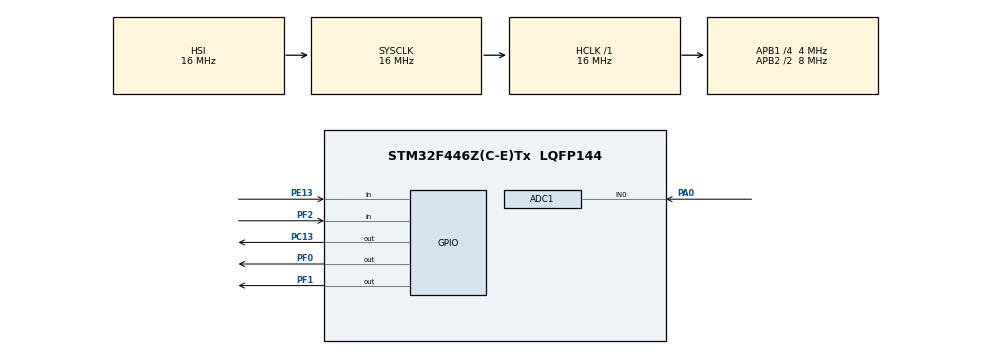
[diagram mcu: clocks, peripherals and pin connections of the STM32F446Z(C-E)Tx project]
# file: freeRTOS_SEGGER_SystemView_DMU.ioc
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ADC1.Channel-0\#ChannelRegularConversion=ADC_CHANNEL_0
ADC1.NbrOfConversionFlag=1
ADC1.Rank-0\#ChannelRegularConversion=1
ADC1.SamplingTime-0\#ChannelRegularConversion=ADC_SAMPLETIME_3CYCLES
ADC1.ScanConvMode=ENABLE
ADC1.master=1
FREERTOS.Tasks01=defaultTask,24,128,StartDefaultTask,Default,NULL,Dynamic,NULL,NULL;myTask02,16,128,StartTask02,Default,NULL,Dynamic,NULL,NULL;myTask03,16,128,StartTask03,Default,NULL,Dynamic,NULL,NULL
FREERTOS.configUSE_NEWLIB_REENTRANT=1
Mcu.Family=STM32F4
Mcu.Name=STM32F446Z(C-E)Tx
Mcu.Package=LQFP144
NVIC.PriorityGroup=NVIC_PRIORITYGROUP_4
NVIC.RCC_IRQn=true\:5\:0\:false\:false\:true\:true\:true\:false\:true
NVIC.TIM6_DAC_IRQn=true\:15\:0\:false\:false\:true\:false\:false\:true\:true
NVIC.TimeBase=TIM6_DAC_IRQn
NVIC.TimeBaseIP=TIM6
PA0-WKUP.Signal=ADCx_IN0
PC13.Signal=GPIO_Output
PE13.Signal=GPIO_Input
PF0.Signal=GPIO_Output
PF1.Signal=GPIO_Output
PF2.Signal=GPIO_Input
PH0-OSC_IN.Mode=HSE-External-Oscillator
PH0-OSC_IN.Signal=RCC_OSC_IN
PH1-OSC_OUT.Mode=HSE-External-Oscillator
PH1-OSC_OUT.Signal=RCC_OSC_OUT
ProjectManager.HeapSize=0x200
ProjectManager.StackSize=0x400
ProjectManager.TargetToolchain=STM32CubeIDE
RCC.AHBFreq_Value=16000000
RCC.APB1CLKDivider=RCC_HCLK_DIV4
RCC.APB1Freq_Value=4000000
RCC.APB1TimFreq_Value=8000000
RCC.APB2CLKDivider=RCC_HCLK_DIV2
RCC.APB2Freq_Value=8000000
RCC.APB2TimFreq_Value=16000000
RCC.CortexFreq_Value=16000000
RCC.HCLKFreq_Value=16000000
RCC.HSE_VALUE=25000000
RCC.PLLM=4
RCC.PLLN=168
RCC.SYSCLKFreq_VALUE=16000000
RCC.USBFreq_Value=336000000
RCC.VCOOutputFreq_Value=672000000
SH.ADCx_IN0.0=ADC1_IN0,IN0
VP_FREERTOS_VS_CMSIS_V2.Mode=CMSIS_V2
VP_SYS_VS_tim6.Mode=TIM6
board=custom

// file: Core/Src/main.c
/* USER CODE BEGIN Header */
/**
  ******************************************************************************
  * @file           : main.c
  * @brief          : Main program body
  ******************************************************************************
  * @attention
  *
  * Copyright (c) 2024 STMicroelectronics.
  * All rights reserved.
  *
  * This software is licensed under terms that can be found in the LICENSE file
  * in the root directory of this software component.
  * If no LICENSE file comes with this software, it is provided AS-IS.
  *
  ******************************************************************************
  */
/* USER CODE END Header */
#include "main.h"
#include "cmsis_os.h"

/* USER CODE BEGIN Includes */

#include "FreeRTOS.h"
#include <stdio.h>
#include <stdbool.h>
#include "task.h"
#include "SEGGER_RTT.h"
#include "SEGGER_SYSVIEW_Conf.h"
#include "SEGGER_SYSVIEW.h"

bool acces_key = 1;
uint8_t TxData;
unsigned digital_output;

//TaskHandle_t myTask02_handle = NULL;
//TaskHandle_t defaultTask1Handle = NULL;
//TaskHandle_t myTask03_handle = NULL;

/* USER CODE END Includes */

ADC_HandleTypeDef hadc1;

/* Definitions for defaultTask */
osThreadId_t defaultTaskHandle;
const osThreadAttr_t defaultTask_attributes = {
  .name = "defaultTask",
  .stack_size = 128 * 4,
  .priority = (osPriority_t) osPriorityNormal,
};
/* Definitions for myTask02 */
osThreadId_t myTask02Handle;
const osThreadAttr_t myTask02_attributes = {
  .name = "myTask02",
  .stack_size = 128 * 4,
  .priority = (osPriority_t) osPriorityBelowNormal,
};
/* Definitions for myTask03 */
osThreadId_t myTask03Handle;
const osThreadAttr_t myTask03_attributes = {
  .name = "myTask03",
  .stack_size = 128 * 4,
  .priority = (osPriority_t) osPriorityBelowNormal,
};

void SystemClock_Config(void);
static void MX_GPIO_Init(void);
static void MX_ADC1_Init(void);
void StartDefaultTask(void *argument);
void StartTask02(void *argument);
void StartTask03(void *argument);

int main(void)
{

  /* USER CODE BEGIN 1 */
	SEGGER_SYSVIEW_Conf();
	SEGGER_SYSVIEW_Start();
  /* USER CODE END 1 */

  /* MCU Configuration--------------------------------------------------------*/

  /* Reset of all peripherals, Initializes the Flash interface and the Systick. */
  HAL_Init();

  /* USER CODE BEGIN Init */
//  osKernelInitialize();

  /* USER CODE END Init */

  /* Configure the system clock */
  SystemClock_Config();
  SystemCoreClockUpdate();

  /* Initialize all configured peripherals */
  MX_GPIO_Init();
  MX_ADC1_Init();

  /* Init scheduler */
  osKernelInitialize();

  /* Create the thread(s) */
  /* creation of defaultTask */
//  defaultTaskHandle = osThreadNew(StartDefaultTask, NULL, &defaultTask_attributes);
  xTaskCreate(StartDefaultTask,"myTask01",configMINIMAL_STACK_SIZE, NULL, 4, &defaultTask_attributes);
  /* creation of myTask02 */
//  myTask02Handle = osThreadNew(StartTask02, NULL, &myTask02_attributes);
  xTaskCreate(StartTask02, "myTask02", configMINIMAL_STACK_SIZE, NULL, 4, &myTask02_attributes);
  /* creation of myTask03 */
//  myTask03Handle = osThreadNew(StartTask03, NULL, &myTask03_attributes);
  xTaskCreate(StartTask03, "myTask03", configMINIMAL_STACK_SIZE, NULL, 4, &myTask03_attributes);

  /* Start scheduler */
  osKernelStart();
  vTaskStartScheduler();
  /* We should never get here as control is now taken by the scheduler */

  /* Infinite loop */
  while (1)
  {

  }
}

void SystemClock_Config(void)
{
  RCC_OscInitTypeDef RCC_OscInitStruct = {0};
  RCC_ClkInitTypeDef RCC_ClkInitStruct = {0};

  /** Configure the main internal regulator output voltage
  */
  __HAL_RCC_PWR_CLK_ENABLE();
  __HAL_PWR_VOLTAGESCALING_CONFIG(PWR_REGULATOR_VOLTAGE_SCALE3);

  /** Initializes the RCC Oscillators according to the specified parameters
  * in the RCC_OscInitTypeDef structure.
  */
  RCC_OscInitStruct.OscillatorType = RCC_OSCILLATORTYPE_HSI;
  RCC_OscInitStruct.HSIState = RCC_HSI_ON;
  RCC_OscInitStruct.HSICalibrationValue = RCC_HSICALIBRATION_DEFAULT;
  RCC_OscInitStruct.PLL.PLLState = RCC_PLL_NONE;
  if (HAL_RCC_OscConfig(&RCC_OscInitStruct) != HAL_OK)
  {
    Error_Handler();
  }

  /** Initializes the CPU, AHB and APB buses clocks
  */
  RCC_ClkInitStruct.ClockType = RCC_CLOCKTYPE_HCLK|RCC_CLOCKTYPE_SYSCLK
                              |RCC_CLOCKTYPE_PCLK1|RCC_CLOCKTYPE_PCLK2;
  RCC_ClkInitStruct.SYSCLKSource = RCC_SYSCLKSOURCE_HSI;
  RCC_ClkInitStruct.AHBCLKDivider = RCC_SYSCLK_DIV1;
  RCC_ClkInitStruct.APB1CLKDivider = RCC_HCLK_DIV4;
  RCC_ClkInitStruct.APB2CLKDivider = RCC_HCLK_DIV2;

  if (HAL_RCC_ClockConfig(&RCC_ClkInitStruct, FLASH_LATENCY_0) != HAL_OK)
  {
    Error_Handler();
  }
}

static void MX_ADC1_Init(void)
{

  ADC_ChannelConfTypeDef sConfig = {0};

  /** Configure the global features of the ADC (Clock, Resolution, Data Alignment and number of conversion)
  */
  hadc1.Instance = ADC1;
  hadc1.Init.ClockPrescaler = ADC_CLOCK_SYNC_PCLK_DIV2;
  hadc1.Init.Resolution = ADC_RESOLUTION_12B;
  hadc1.Init.ScanConvMode = ENABLE;
  hadc1.Init.ContinuousConvMode = DISABLE;
  hadc1.Init.DiscontinuousConvMode = DISABLE;
  hadc1.Init.ExternalTrigConvEdge = ADC_EXTERNALTRIGCONVEDGE_NONE;
  hadc1.Init.ExternalTrigConv = ADC_SOFTWARE_START;
  hadc1.Init.DataAlign = ADC_DATAALIGN_RIGHT;
  hadc1.Init.NbrOfConversion = 1;
  hadc1.Init.DMAContinuousRequests = DISABLE;
  hadc1.Init.EOCSelection = ADC_EOC_SINGLE_CONV;
  if (HAL_ADC_Init(&hadc1) != HAL_OK)
  {
    Error_Handler();
  }

  /** Configure for the selected ADC regular channel its corresponding rank in the sequencer and its sample time.
  */
  sConfig.Channel = ADC_CHANNEL_0;
  sConfig.Rank = 1;
  sConfig.SamplingTime = ADC_SAMPLETIME_3CYCLES;
  if (HAL_ADC_ConfigChannel(&hadc1, &sConfig) != HAL_OK)
  {
    Error_Handler();
  }

}

static void MX_GPIO_Init(void)
{
  GPIO_InitTypeDef GPIO_InitStruct = {0};

  /* GPIO Ports Clock Enable */
  __HAL_RCC_GPIOC_CLK_ENABLE();
  __HAL_RCC_GPIOF_CLK_ENABLE();
  __HAL_RCC_GPIOH_CLK_ENABLE();
  __HAL_RCC_GPIOA_CLK_ENABLE();
  __HAL_RCC_GPIOE_CLK_ENABLE();

  /*Configure GPIO pin Output Level */
  HAL_GPIO_WritePin(GPIOC, GPIO_PIN_13, GPIO_PIN_RESET);

  /*Configure GPIO pin Output Level */
  HAL_GPIO_WritePin(GPIOF, GPIO_PIN_0|GPIO_PIN_1, GPIO_PIN_RESET);

  /*Configure GPIO pin : PC13 */
  GPIO_InitStruct.Pin = GPIO_PIN_13;
  GPIO_InitStruct.Mode = GPIO_MODE_OUTPUT_PP;
  GPIO_InitStruct.Pull = GPIO_NOPULL;
  GPIO_InitStruct.Speed = GPIO_SPEED_FREQ_LOW;
  HAL_GPIO_Init(GPIOC, &GPIO_InitStruct);

  /*Configure GPIO pins : PF0 PF1 */
  GPIO_InitStruct.Pin = GPIO_PIN_0|GPIO_PIN_1;
  GPIO_InitStruct.Mode = GPIO_MODE_OUTPUT_PP;
  GPIO_InitStruct.Pull = GPIO_NOPULL;
  GPIO_InitStruct.Speed = GPIO_SPEED_FREQ_LOW;
  HAL_GPIO_Init(GPIOF, &GPIO_InitStruct);

  /*Configure GPIO pin : PF2 */
  GPIO_InitStruct.Pin = GPIO_PIN_2;
  GPIO_InitStruct.Mode = GPIO_MODE_INPUT;
  GPIO_InitStruct.Pull = GPIO_NOPULL;
  HAL_GPIO_Init(GPIOF, &GPIO_InitStruct);

  /*Configure GPIO pin : PE13 */
  GPIO_InitStruct.Pin = GPIO_PIN_13;
  GPIO_InitStruct.Mode = GPIO_MODE_INPUT;
  GPIO_InitStruct.Pull = GPIO_NOPULL;
  HAL_GPIO_Init(GPIOE, &GPIO_InitStruct);

}

void StartDefaultTask(void *argument)
{
  /* USER CODE BEGIN 5 */

  /* Infinite loop */
  for(;;)
  {
	  if(acces_key == 1)
	  {
		  acces_key =0;
		  HAL_GPIO_WritePin(GPIOF, GPIO_PIN_0, GPIO_PIN_SET);
		  HAL_Delay(500);
		  HAL_GPIO_WritePin(GPIOF, GPIO_PIN_0, GPIO_PIN_RESET);
		  acces_key =1;
		  taskYIELD();
	  }
	    osDelay(1000);
  }
  /* USER CODE END 5 */
}

void StartTask02(void *argument)
{
  /* USER CODE BEGIN StartTask02 */
  /* Infinite loop */
  for(;;)
  {
	  if(digital_output == 0)
	  {
		  HAL_GPIO_WritePin(GPIOC, GPIO_PIN_13, GPIO_PIN_SET);
	  	  HAL_Delay(500);
	  	  HAL_GPIO_WritePin(GPIOC, GPIO_PIN_13, GPIO_PIN_RESET);

	  	  HAL_GPIO_WritePin(GPIOF, GPIO_PIN_1, GPIO_PIN_SET);
	  	  HAL_Delay(500);
	  	  HAL_GPIO_WritePin(GPIOF, GPIO_PIN_1, GPIO_PIN_RESET);

	  	  HAL_ADC_Start(&hadc1);  // ADC'yi başlat
	  	  if(HAL_ADC_PollForConversion(&hadc1, 1000) == HAL_OK)
	  	  {
	  		  TxData=HAL_ADC_GetValue(&hadc1);
	  	  }
	  }
	  HAL_ADC_Stop(&hadc1);
	  taskYIELD();
	  osDelay(1000);

  }

  /* USER CODE END StartTask02 */
}

void StartTask03(void *argument)
{
  /* USER CODE BEGIN StartTask03 */
  /* Infinite loop */
  for(;;)
  {
	  digital_output=HAL_GPIO_ReadPin(GPIOE, GPIO_PIN_13);

  }
  /* USER CODE END StartTask03 */
}

void HAL_TIM_PeriodElapsedCallback(TIM_HandleTypeDef *htim)
{
  if (htim->Instance == TIM6) {
    HAL_IncTick();
  }
}

void Error_Handler(void)
{
  __disable_irq();
  while (1)
  {
  }
}
